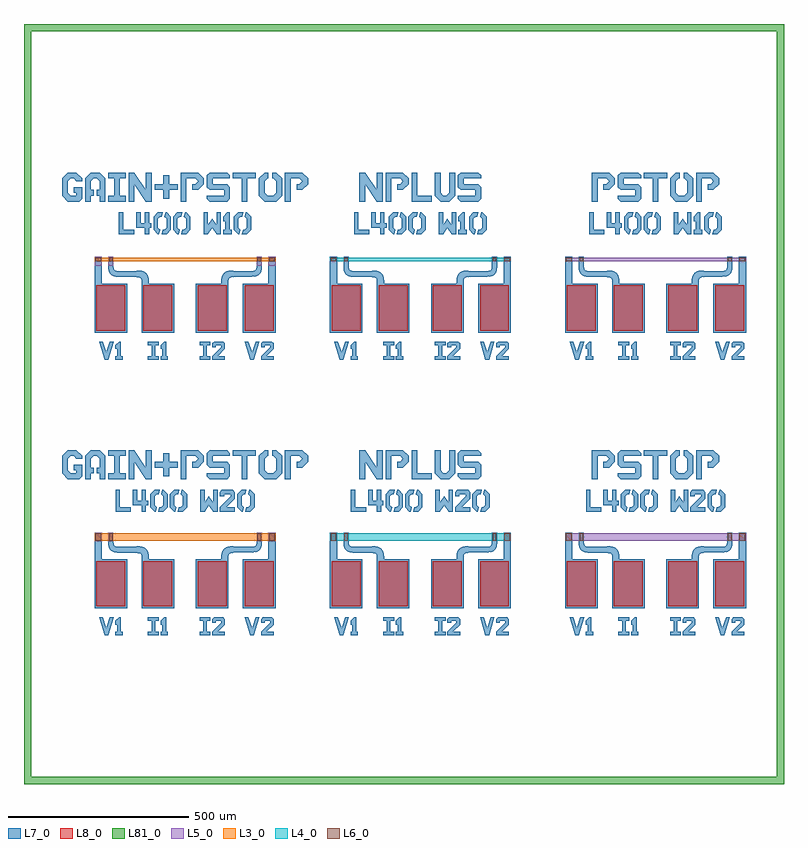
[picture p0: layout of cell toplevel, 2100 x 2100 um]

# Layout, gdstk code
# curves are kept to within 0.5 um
from math import pi, radians
import gdstk
lib = gdstk.Library(unit=1e-6, precision=1e-09)
def R(c, l, rs):  # rectangles x0, y0, x1, y1
    for r in rs: c.add(gdstk.rectangle(r[:2], r[2:], *l))
def P(c, l, *ps):  # polygons
    for p in ps: c.add(gdstk.Polygon(p, *l))
L3_0 = (3, 0)
L4_0 = (4, 0)
L5_0 = (5, 0)
L6_0 = (6, 0)
L7_0 = (7, 0)
L8_0 = (8, 0)
L81_0 = (81, 0)

rectangle008 = lib.new_cell('rectangle008')
R(rectangle008, L5_0, [(-250,-17,-230,7)])

rectangle009 = lib.new_cell('rectangle009')
R(rectangle009, L5_0, [(-212,-17,-198,7)])

offset = lib.new_cell('offset')
R(offset, L8_0, [(5,5,85,130)])

rectangle002 = lib.new_cell('rectangle002')
R(rectangle002, L7_0, [(0,0,90,135)])
rectangle002.add(gdstk.Reference(offset, (0,0)))

rectangle005 = lib.new_cell('rectangle005')
R(rectangle005, L7_0, [(0,0,20,50)])

rectangle003 = lib.new_cell('rectangle003')
R(rectangle003, L7_0, [(0,0,20,24)])

rectangle006 = lib.new_cell('rectangle006')
R(rectangle006, L6_0, [(-248,-5,-232,5)])

pad_v = lib.new_cell('pad_v')
pad_v.add(gdstk.Reference(rectangle002, (-250,-202)))
pad_v.add(gdstk.Reference(rectangle005, (-250,-67)))
pad_v.add(gdstk.Reference(rectangle003, (-250,-17)))
pad_v.add(gdstk.Reference(rectangle006, (0,0)))

rectangle004 = lib.new_cell('rectangle004')
R(rectangle004, L7_0, [(0,0,14,24)])

extrude = lib.new_cell('extrude')
P(extrude, L7_0, [(-212,-17),(-211.614,-27.171),(-209.362,-34.803),(-205.059,-40.896),(-198.656,-45.198),(-193.119,-46.992),(-186.65,-47.829),(-125.381,-49.75),(-122.013,-51.166),(-120.509,-53.698),(-120,-67),(-100,-67),(-100.684,-54.051),(-103.049,-45.646),(-107.874,-38.516),(-114.869,-33.713),(-120.836,-31.808),(-127.788,-31.056),(-190.273,-31.923),(-194.112,-30.578),(-196.306,-28.092),(-197.556,-23.899),(-198,-17)])

rectangle007 = lib.new_cell('rectangle007')
R(rectangle007, L6_0, [(-210,-5,-200,5)])

pad_i = lib.new_cell('pad_i')
pad_i.add(gdstk.Reference(rectangle002, (-120,-202)))
pad_i.add(gdstk.Reference(rectangle004, (-212,-17)))
pad_i.add(gdstk.Reference(extrude, (0,0)))
pad_i.add(gdstk.Reference(rectangle007, (0,0)))

metal_left = lib.new_cell('metal_left')
metal_left.add(gdstk.Reference(rectangle008, (0,0)))
metal_left.add(gdstk.Reference(rectangle009, (0,0)))
metal_left.add(gdstk.Reference(pad_v, (0,0)))
metal_left.add(gdstk.Reference(pad_i, (0,0)))

metal_left010 = lib.new_cell('metal_left010')
metal_left010.add(gdstk.Reference(rectangle008, (0,0), rotation=pi, x_reflection=True))
metal_left010.add(gdstk.Reference(rectangle009, (0,0), rotation=pi, x_reflection=True))
metal_left010.add(gdstk.Reference(pad_v, (0,0), rotation=pi, x_reflection=True))
metal_left010.add(gdstk.Reference(pad_i, (0,0), rotation=pi, x_reflection=True))

rectangle = lib.new_cell('rectangle')
R(rectangle, L3_0, [(-250,-5,250,5)])

text = lib.new_cell('text')
P(text, L7_0, [(-324,160),(-340,176),(-340,224),(-324,240),(-300,240),(-284,224),(-284,216),(-300,216),(-308,224),(-316,224),(-324,216),(-324,184),(-316,176),(-300,176),(-300,184),(-308,184),(-308,200),(-284,200),(-284,168),(-292,160)],
  [(-276,224),(-260,240),(-235.92,240),(-220,224),(-220,160),(-235.92,160),(-235.92,176),(-244,176),(-244,192),(-235.92,192),(-235.92,216),(-244,224),(-252,224),(-260,216),(-260,192),(-252,192),(-252,176),(-260,176),(-260,160),(-276.08,160)],
  [(-212,160),(-212,176),(-196,176),(-196,224),(-212,224),(-212,240),(-164,240),(-164,224),(-180,224),(-180,176),(-164,176),(-164,160),(-212,160)],
  [(-156,240),(-140,240),(-108,192),(-108,240),(-92,240),(-92,160),(-108,160),(-140,208),(-140,160),(-156,160),(-156,240)],
  [(-60,208),(-60,232),(-44,232),(-44,208),(-20,208),(-20,192),(-44,192),(-44,168),(-60,168),(-60,192),(-84,192),(-84,208),(-60,208)],
  [(-12,240),(36,240),(52,224),(52,208),(36,192),(20,192),(20,208),(28,208),(36,216),(28,224),(4,224),(4,160),(-12,160)],
  [(124,224),(76,224),(76,208),(116,208),(124,200),(124,168),(116,160),(68,160),(60,168),(60,176),(108,176),(108,192),(68,192),(60,200),(60,232),(68,240),(116,240),(124,232)],
  [(196,240),(196,224),(172,224),(172,160),(156,160),(156,224),(132,224),(132,240),(196,240)],
  [(204,224),(220,240),(230.4,240),(230.4,224),(228,224),(220,216),(220,184),(228,176),(244,176),(252,184),(252,216),(244,224),(241.6,224),(241.6,240),(252,240),(268,224),(268,176),(252,160),(220,160),(204,176)],
  [(276,240),(324,240),(340,224),(340,208),(324,192),(308,192),(308,208),(316,208),(324,216),(316,224),(292,224),(292,160),(276,160)])

text011 = lib.new_cell('text011')
P(text011, L7_0, [(-183,130),(-171,130),(-171,82),(-141,82),(-141,70),(-183,70),(-183,130)],
  [(-93,100),(-93,88),(-99,88),(-99,70),(-111,70),(-111,88),(-135,88),(-135,130),(-123,130),(-123,100),(-111,100),(-111,130),(-99,130),(-99,100),(-93,100)],
  [(-69,118),(-75,112),(-75,88),(-69,82),(-72,70),(-75,70),(-87,82),(-87,118),(-75,130),(-61.2,130),(-64.2,118),(-69,118)],
  [(-57,82),(-51,88),(-51,112),(-57,118),(-54,130),(-51,130),(-39,118),(-39,82),(-51,70),(-64.8,70),(-61.8,82),(-57,82)],
  [(-15,118),(-21,112),(-21,88),(-15,82),(-18,70),(-21,70),(-33,82),(-33,118),(-21,130),(-7.2,130),(-10.2,118),(-15,118)],
  [(-3,82),(3,88),(3,112),(-3,118),(0,130),(3,130),(15,118),(15,82),(3,70),(-10.8,70),(-7.8,82),(-3,82)],
  [(51,130),(63,130),(63,94),(75,112),(87,94),(87,130),(99,130),(99,70),(87,70),(75,88),(63,70),(51,70)],
  [(111,106),(105,106),(105,118),(117,130),(123,130),(123,82),(129,82),(129,70),(105,70),(105,82),(111,82)],
  [(153,118),(147,112),(147,88),(153,82),(150,70),(147,70),(135,82),(135,118),(147,130),(160.8,130),(157.8,118),(153,118)],
  [(165,82),(171,88),(171,112),(165,118),(168,130),(171,130),(183,118),(183,82),(171,70),(157.2,70),(160.2,82),(165,82)])

text012 = lib.new_cell('text012')
P(text012, L7_0, [(15,50),(25,20),(35,50),(45,50),(30,0),(20,0),(5,50),(15,50)],
  [(55,30),(50,30),(50,40),(60,50),(65,50),(65,10),(70,10),(70,0),(50,0),(50,10),(55,10)])

text013 = lib.new_cell('text013')
P(text013, L7_0, [(15,50),(25,20),(35,50),(45,50),(30,0),(20,0),(5,50),(15,50)],
  [(50,45),(55,50),(80,50),(85,45),(85,30),(65,10),(85,10),(85,0),(50,0),(50,10),(75,35),(75,40),(60,40),(60,35),(50,35)])

text014 = lib.new_cell('text014')
P(text014, L7_0, [(5,0),(5,10),(15,10),(15,40),(5,40),(5,50),(35,50),(35,40),(25,40),(25,10),(35,10),(35,0),(5,0)],
  [(45,30),(40,30),(40,40),(50,50),(55,50),(55,10),(60,10),(60,0),(40,0),(40,10),(45,10)])

text015 = lib.new_cell('text015')
P(text015, L7_0, [(5,0),(5,10),(15,10),(15,40),(5,40),(5,50),(35,50),(35,40),(25,40),(25,10),(35,10),(35,0),(5,0)],
  [(40,45),(45,50),(70,50),(75,45),(75,30),(55,10),(75,10),(75,0),(40,0),(40,10),(65,35),(65,40),(50,40),(50,35),(40,35)])

pad_label = lib.new_cell('pad_label')
pad_label.add(gdstk.Reference(text012, (-242.5,-277)))
pad_label.add(gdstk.Reference(text013, (160,-277)))
pad_label.add(gdstk.Reference(text014, (-107.5,-277)))
pad_label.add(gdstk.Reference(text015, (35,-277)))

i_test = lib.new_cell('I_test')
i_test.add(gdstk.Reference(metal_left, (0,0)))
i_test.add(gdstk.Reference(metal_left010, (0,0)))
i_test.add(gdstk.Reference(rectangle, (0,0)))
i_test.add(gdstk.Reference(text, (0,0)))
i_test.add(gdstk.Reference(text011, (0,0)))
i_test.add(gdstk.Reference(pad_label, (0,0)))

rectangle029 = lib.new_cell('rectangle029')
R(rectangle029, L5_0, [(-250,-12,-230,12)])

rectangle030 = lib.new_cell('rectangle030')
R(rectangle030, L5_0, [(-212,-12,-198,12)])

offset022 = lib.new_cell('offset022')
R(offset022, L8_0, [(5,5,85,130)])

rectangle021 = lib.new_cell('rectangle021')
R(rectangle021, L7_0, [(0,0,90,135)])
rectangle021.add(gdstk.Reference(offset022, (0,0)))

rectangle025 = lib.new_cell('rectangle025')
R(rectangle025, L7_0, [(0,0,20,50)])

rectangle023 = lib.new_cell('rectangle023')
R(rectangle023, L7_0, [(0,0,20,24)])

rectangle027 = lib.new_cell('rectangle027')
R(rectangle027, L6_0, [(-248,-10,-232,10)])

pad_v018 = lib.new_cell('pad_v018')
pad_v018.add(gdstk.Reference(rectangle021, (-250,-197)))
pad_v018.add(gdstk.Reference(rectangle025, (-250,-62)))
pad_v018.add(gdstk.Reference(rectangle023, (-250,-12)))
pad_v018.add(gdstk.Reference(rectangle027, (0,0)))

rectangle024 = lib.new_cell('rectangle024')
R(rectangle024, L7_0, [(0,0,14,24)])

extrude026 = lib.new_cell('extrude026')
P(extrude026, L7_0, [(-212,-12),(-211.614,-22.171),(-209.362,-29.803),(-205.059,-35.896),(-198.656,-40.198),(-193.119,-41.992),(-186.65,-42.829),(-125.381,-44.75),(-122.013,-46.166),(-120.509,-48.698),(-120,-62),(-100,-62),(-100.684,-49.051),(-103.049,-40.646),(-107.874,-33.516),(-114.869,-28.713),(-120.836,-26.808),(-127.788,-26.056),(-190.273,-26.923),(-194.112,-25.578),(-196.306,-23.092),(-197.556,-18.899),(-198,-12)])

rectangle028 = lib.new_cell('rectangle028')
R(rectangle028, L6_0, [(-210,-10,-200,10)])

pad_i019 = lib.new_cell('pad_i019')
pad_i019.add(gdstk.Reference(rectangle021, (-120,-197)))
pad_i019.add(gdstk.Reference(rectangle024, (-212,-12)))
pad_i019.add(gdstk.Reference(extrude026, (0,0)))
pad_i019.add(gdstk.Reference(rectangle028, (0,0)))

metal_left017 = lib.new_cell('metal_left017')
metal_left017.add(gdstk.Reference(rectangle029, (0,0)))
metal_left017.add(gdstk.Reference(rectangle030, (0,0)))
metal_left017.add(gdstk.Reference(pad_v018, (0,0)))
metal_left017.add(gdstk.Reference(pad_i019, (0,0)))

metal_left031 = lib.new_cell('metal_left031')
metal_left031.add(gdstk.Reference(rectangle029, (0,0), rotation=pi, x_reflection=True))
metal_left031.add(gdstk.Reference(rectangle030, (0,0), rotation=pi, x_reflection=True))
metal_left031.add(gdstk.Reference(pad_v018, (0,0), rotation=pi, x_reflection=True))
metal_left031.add(gdstk.Reference(pad_i019, (0,0), rotation=pi, x_reflection=True))

rectangle020 = lib.new_cell('rectangle020')
R(rectangle020, L3_0, [(-250,-10,250,10)])

text032 = lib.new_cell('text032')
P(text032, L7_0, [(-324,160),(-340,176),(-340,224),(-324,240),(-300,240),(-284,224),(-284,216),(-300,216),(-308,224),(-316,224),(-324,216),(-324,184),(-316,176),(-300,176),(-300,184),(-308,184),(-308,200),(-284,200),(-284,168),(-292,160)],
  [(-276,224),(-260,240),(-235.92,240),(-220,224),(-220,160),(-235.92,160),(-235.92,176),(-244,176),(-244,192),(-235.92,192),(-235.92,216),(-244,224),(-252,224),(-260,216),(-260,192),(-252,192),(-252,176),(-260,176),(-260,160),(-276.08,160)],
  [(-212,160),(-212,176),(-196,176),(-196,224),(-212,224),(-212,240),(-164,240),(-164,224),(-180,224),(-180,176),(-164,176),(-164,160),(-212,160)],
  [(-156,240),(-140,240),(-108,192),(-108,240),(-92,240),(-92,160),(-108,160),(-140,208),(-140,160),(-156,160),(-156,240)],
  [(-60,208),(-60,232),(-44,232),(-44,208),(-20,208),(-20,192),(-44,192),(-44,168),(-60,168),(-60,192),(-84,192),(-84,208),(-60,208)],
  [(-12,240),(36,240),(52,224),(52,208),(36,192),(20,192),(20,208),(28,208),(36,216),(28,224),(4,224),(4,160),(-12,160)],
  [(124,224),(76,224),(76,208),(116,208),(124,200),(124,168),(116,160),(68,160),(60,168),(60,176),(108,176),(108,192),(68,192),(60,200),(60,232),(68,240),(116,240),(124,232)],
  [(196,240),(196,224),(172,224),(172,160),(156,160),(156,224),(132,224),(132,240),(196,240)],
  [(204,224),(220,240),(230.4,240),(230.4,224),(228,224),(220,216),(220,184),(228,176),(244,176),(252,184),(252,216),(244,224),(241.6,224),(241.6,240),(252,240),(268,224),(268,176),(252,160),(220,160),(204,176)],
  [(276,240),(324,240),(340,224),(340,208),(324,192),(308,192),(308,208),(316,208),(324,216),(316,224),(292,224),(292,160),(276,160)])

text033 = lib.new_cell('text033')
P(text033, L7_0, [(-192,130),(-180,130),(-180,82),(-150,82),(-150,70),(-192,70),(-192,130)],
  [(-102,100),(-102,88),(-108,88),(-108,70),(-120,70),(-120,88),(-144,88),(-144,130),(-132,130),(-132,100),(-120,100),(-120,130),(-108,130),(-108,100),(-102,100)],
  [(-78,118),(-84,112),(-84,88),(-78,82),(-81,70),(-84,70),(-96,82),(-96,118),(-84,130),(-70.2,130),(-73.2,118),(-78,118)],
  [(-66,82),(-60,88),(-60,112),(-66,118),(-63,130),(-60,130),(-48,118),(-48,82),(-60,70),(-73.8,70),(-70.8,82),(-66,82)],
  [(-24,118),(-30,112),(-30,88),(-24,82),(-27,70),(-30,70),(-42,82),(-42,118),(-30,130),(-16.2,130),(-19.2,118),(-24,118)],
  [(-12,82),(-6,88),(-6,112),(-12,118),(-9,130),(-6,130),(6,118),(6,82),(-6,70),(-19.8,70),(-16.8,82),(-12,82)],
  [(42,130),(54,130),(54,94),(66,112),(78,94),(78,130),(90,130),(90,70),(78,70),(66,88),(54,70),(42,70)],
  [(96,124),(102,130),(132,130),(138,124),(138,106),(114,82),(138,82),(138,70),(96,70),(96,82),(126,112),(126,118),(108,118),(108,112),(96,112)],
  [(162,118),(156,112),(156,88),(162,82),(159,70),(156,70),(144,82),(144,118),(156,130),(169.8,130),(166.8,118),(162,118)],
  [(174,82),(180,88),(180,112),(174,118),(177,130),(180,130),(192,118),(192,82),(180,70),(166.2,70),(169.2,82),(174,82)])

text035 = lib.new_cell('text035')
P(text035, L7_0, [(15,50),(25,20),(35,50),(45,50),(30,0),(20,0),(5,50),(15,50)],
  [(55,30),(50,30),(50,40),(60,50),(65,50),(65,10),(70,10),(70,0),(50,0),(50,10),(55,10)])

text036 = lib.new_cell('text036')
P(text036, L7_0, [(15,50),(25,20),(35,50),(45,50),(30,0),(20,0),(5,50),(15,50)],
  [(50,45),(55,50),(80,50),(85,45),(85,30),(65,10),(85,10),(85,0),(50,0),(50,10),(75,35),(75,40),(60,40),(60,35),(50,35)])

text037 = lib.new_cell('text037')
P(text037, L7_0, [(5,0),(5,10),(15,10),(15,40),(5,40),(5,50),(35,50),(35,40),(25,40),(25,10),(35,10),(35,0),(5,0)],
  [(45,30),(40,30),(40,40),(50,50),(55,50),(55,10),(60,10),(60,0),(40,0),(40,10),(45,10)])

text038 = lib.new_cell('text038')
P(text038, L7_0, [(5,0),(5,10),(15,10),(15,40),(5,40),(5,50),(35,50),(35,40),(25,40),(25,10),(35,10),(35,0),(5,0)],
  [(40,45),(45,50),(70,50),(75,45),(75,30),(55,10),(75,10),(75,0),(40,0),(40,10),(65,35),(65,40),(50,40),(50,35),(40,35)])

pad_label034 = lib.new_cell('pad_label034')
pad_label034.add(gdstk.Reference(text035, (-242.5,-272)))
pad_label034.add(gdstk.Reference(text036, (160,-272)))
pad_label034.add(gdstk.Reference(text037, (-107.5,-272)))
pad_label034.add(gdstk.Reference(text038, (35,-272)))

i_test016 = lib.new_cell('I_test016')
i_test016.add(gdstk.Reference(metal_left017, (0,0)))
i_test016.add(gdstk.Reference(metal_left031, (0,0)))
i_test016.add(gdstk.Reference(rectangle020, (0,0)))
i_test016.add(gdstk.Reference(text032, (0,0)))
i_test016.add(gdstk.Reference(text033, (0,0)))
i_test016.add(gdstk.Reference(pad_label034, (0,0)))

offset045 = lib.new_cell('offset045')
R(offset045, L8_0, [(5,5,85,130)])

rectangle044 = lib.new_cell('rectangle044')
R(rectangle044, L7_0, [(0,0,90,135)])
rectangle044.add(gdstk.Reference(offset045, (0,0)))

rectangle048 = lib.new_cell('rectangle048')
R(rectangle048, L7_0, [(0,0,20,50)])

rectangle046 = lib.new_cell('rectangle046')
R(rectangle046, L7_0, [(0,0,20,24)])

rectangle050 = lib.new_cell('rectangle050')
R(rectangle050, L6_0, [(-248,-5,-232,5)])

pad_v041 = lib.new_cell('pad_v041')
pad_v041.add(gdstk.Reference(rectangle044, (-250,-202)))
pad_v041.add(gdstk.Reference(rectangle048, (-250,-67)))
pad_v041.add(gdstk.Reference(rectangle046, (-250,-17)))
pad_v041.add(gdstk.Reference(rectangle050, (0,0)))

rectangle047 = lib.new_cell('rectangle047')
R(rectangle047, L7_0, [(0,0,14,24)])

extrude049 = lib.new_cell('extrude049')
P(extrude049, L7_0, [(-212,-17),(-211.614,-27.171),(-209.362,-34.803),(-205.059,-40.896),(-198.656,-45.198),(-193.119,-46.992),(-186.65,-47.829),(-125.381,-49.75),(-122.013,-51.166),(-120.509,-53.698),(-120,-67),(-100,-67),(-100.684,-54.051),(-103.049,-45.646),(-107.874,-38.516),(-114.869,-33.713),(-120.836,-31.808),(-127.788,-31.056),(-190.273,-31.923),(-194.112,-30.578),(-196.306,-28.092),(-197.556,-23.899),(-198,-17)])

rectangle051 = lib.new_cell('rectangle051')
R(rectangle051, L6_0, [(-210,-5,-200,5)])

pad_i042 = lib.new_cell('pad_i042')
pad_i042.add(gdstk.Reference(rectangle044, (-120,-202)))
pad_i042.add(gdstk.Reference(rectangle047, (-212,-17)))
pad_i042.add(gdstk.Reference(extrude049, (0,0)))
pad_i042.add(gdstk.Reference(rectangle051, (0,0)))

metal_left040 = lib.new_cell('metal_left040')
metal_left040.add(gdstk.Reference(pad_v041, (0,0)))
metal_left040.add(gdstk.Reference(pad_i042, (0,0)))

metal_left052 = lib.new_cell('metal_left052')
metal_left052.add(gdstk.Reference(pad_v041, (0,0), rotation=pi, x_reflection=True))
metal_left052.add(gdstk.Reference(pad_i042, (0,0), rotation=pi, x_reflection=True))

rectangle043 = lib.new_cell('rectangle043')
R(rectangle043, L4_0, [(-250,-5,250,5)])

text053 = lib.new_cell('text053')
P(text053, L7_0, [(-168,240),(-152,240),(-120,192),(-120,240),(-104,240),(-104,160),(-120,160),(-152,208),(-152,160),(-168,160),(-168,240)],
  [(-96,240),(-48,240),(-32,224),(-32,208),(-48,192),(-64,192),(-64,208),(-56,208),(-48,216),(-56,224),(-80,224),(-80,160),(-96,160)],
  [(-24,240),(-8,240),(-8,176),(32,176),(32,160),(-24,160),(-24,240)],
  [(56,240),(56,184),(64,176),(72,176),(80,184),(80,240),(96,240),(96,176),(80,160),(56,160),(40,176),(40,240)],
  [(168,224),(120,224),(120,208),(160,208),(168,200),(168,168),(160,160),(112,160),(104,168),(104,176),(152,176),(152,192),(112,192),(104,200),(104,232),(112,240),(160,240),(168,232)])

text054 = lib.new_cell('text054')
P(text054, L7_0, [(-183,130),(-171,130),(-171,82),(-141,82),(-141,70),(-183,70),(-183,130)],
  [(-93,100),(-93,88),(-99,88),(-99,70),(-111,70),(-111,88),(-135,88),(-135,130),(-123,130),(-123,100),(-111,100),(-111,130),(-99,130),(-99,100),(-93,100)],
  [(-69,118),(-75,112),(-75,88),(-69,82),(-72,70),(-75,70),(-87,82),(-87,118),(-75,130),(-61.2,130),(-64.2,118),(-69,118)],
  [(-57,82),(-51,88),(-51,112),(-57,118),(-54,130),(-51,130),(-39,118),(-39,82),(-51,70),(-64.8,70),(-61.8,82),(-57,82)],
  [(-15,118),(-21,112),(-21,88),(-15,82),(-18,70),(-21,70),(-33,82),(-33,118),(-21,130),(-7.2,130),(-10.2,118),(-15,118)],
  [(-3,82),(3,88),(3,112),(-3,118),(0,130),(3,130),(15,118),(15,82),(3,70),(-10.8,70),(-7.8,82),(-3,82)],
  [(51,130),(63,130),(63,94),(75,112),(87,94),(87,130),(99,130),(99,70),(87,70),(75,88),(63,70),(51,70)],
  [(111,106),(105,106),(105,118),(117,130),(123,130),(123,82),(129,82),(129,70),(105,70),(105,82),(111,82)],
  [(153,118),(147,112),(147,88),(153,82),(150,70),(147,70),(135,82),(135,118),(147,130),(160.8,130),(157.8,118),(153,118)],
  [(165,82),(171,88),(171,112),(165,118),(168,130),(171,130),(183,118),(183,82),(171,70),(157.2,70),(160.2,82),(165,82)])

text056 = lib.new_cell('text056')
P(text056, L7_0, [(15,50),(25,20),(35,50),(45,50),(30,0),(20,0),(5,50),(15,50)],
  [(55,30),(50,30),(50,40),(60,50),(65,50),(65,10),(70,10),(70,0),(50,0),(50,10),(55,10)])

text057 = lib.new_cell('text057')
P(text057, L7_0, [(15,50),(25,20),(35,50),(45,50),(30,0),(20,0),(5,50),(15,50)],
  [(50,45),(55,50),(80,50),(85,45),(85,30),(65,10),(85,10),(85,0),(50,0),(50,10),(75,35),(75,40),(60,40),(60,35),(50,35)])

text058 = lib.new_cell('text058')
P(text058, L7_0, [(5,0),(5,10),(15,10),(15,40),(5,40),(5,50),(35,50),(35,40),(25,40),(25,10),(35,10),(35,0),(5,0)],
  [(45,30),(40,30),(40,40),(50,50),(55,50),(55,10),(60,10),(60,0),(40,0),(40,10),(45,10)])

text059 = lib.new_cell('text059')
P(text059, L7_0, [(5,0),(5,10),(15,10),(15,40),(5,40),(5,50),(35,50),(35,40),(25,40),(25,10),(35,10),(35,0),(5,0)],
  [(40,45),(45,50),(70,50),(75,45),(75,30),(55,10),(75,10),(75,0),(40,0),(40,10),(65,35),(65,40),(50,40),(50,35),(40,35)])

pad_label055 = lib.new_cell('pad_label055')
pad_label055.add(gdstk.Reference(text056, (-242.5,-277)))
pad_label055.add(gdstk.Reference(text057, (160,-277)))
pad_label055.add(gdstk.Reference(text058, (-107.5,-277)))
pad_label055.add(gdstk.Reference(text059, (35,-277)))

i_test039 = lib.new_cell('I_test039')
i_test039.add(gdstk.Reference(metal_left040, (0,0)))
i_test039.add(gdstk.Reference(metal_left052, (0,0)))
i_test039.add(gdstk.Reference(rectangle043, (0,0)))
i_test039.add(gdstk.Reference(text053, (0,0)))
i_test039.add(gdstk.Reference(text054, (0,0)))
i_test039.add(gdstk.Reference(pad_label055, (0,0)))

offset066 = lib.new_cell('offset066')
R(offset066, L8_0, [(5,5,85,130)])

rectangle065 = lib.new_cell('rectangle065')
R(rectangle065, L7_0, [(0,0,90,135)])
rectangle065.add(gdstk.Reference(offset066, (0,0)))

rectangle069 = lib.new_cell('rectangle069')
R(rectangle069, L7_0, [(0,0,20,50)])

rectangle067 = lib.new_cell('rectangle067')
R(rectangle067, L7_0, [(0,0,20,24)])

rectangle071 = lib.new_cell('rectangle071')
R(rectangle071, L6_0, [(-248,-10,-232,10)])

pad_v062 = lib.new_cell('pad_v062')
pad_v062.add(gdstk.Reference(rectangle065, (-250,-197)))
pad_v062.add(gdstk.Reference(rectangle069, (-250,-62)))
pad_v062.add(gdstk.Reference(rectangle067, (-250,-12)))
pad_v062.add(gdstk.Reference(rectangle071, (0,0)))

rectangle068 = lib.new_cell('rectangle068')
R(rectangle068, L7_0, [(0,0,14,24)])

extrude070 = lib.new_cell('extrude070')
P(extrude070, L7_0, [(-212,-12),(-211.614,-22.171),(-209.362,-29.803),(-205.059,-35.896),(-198.656,-40.198),(-193.119,-41.992),(-186.65,-42.829),(-125.381,-44.75),(-122.013,-46.166),(-120.509,-48.698),(-120,-62),(-100,-62),(-100.684,-49.051),(-103.049,-40.646),(-107.874,-33.516),(-114.869,-28.713),(-120.836,-26.808),(-127.788,-26.056),(-190.273,-26.923),(-194.112,-25.578),(-196.306,-23.092),(-197.556,-18.899),(-198,-12)])

rectangle072 = lib.new_cell('rectangle072')
R(rectangle072, L6_0, [(-210,-10,-200,10)])

pad_i063 = lib.new_cell('pad_i063')
pad_i063.add(gdstk.Reference(rectangle065, (-120,-197)))
pad_i063.add(gdstk.Reference(rectangle068, (-212,-12)))
pad_i063.add(gdstk.Reference(extrude070, (0,0)))
pad_i063.add(gdstk.Reference(rectangle072, (0,0)))

metal_left061 = lib.new_cell('metal_left061')
metal_left061.add(gdstk.Reference(pad_v062, (0,0)))
metal_left061.add(gdstk.Reference(pad_i063, (0,0)))

metal_left073 = lib.new_cell('metal_left073')
metal_left073.add(gdstk.Reference(pad_v062, (0,0), rotation=pi, x_reflection=True))
metal_left073.add(gdstk.Reference(pad_i063, (0,0), rotation=pi, x_reflection=True))

rectangle064 = lib.new_cell('rectangle064')
R(rectangle064, L4_0, [(-250,-10,250,10)])

text074 = lib.new_cell('text074')
P(text074, L7_0, [(-168,240),(-152,240),(-120,192),(-120,240),(-104,240),(-104,160),(-120,160),(-152,208),(-152,160),(-168,160),(-168,240)],
  [(-96,240),(-48,240),(-32,224),(-32,208),(-48,192),(-64,192),(-64,208),(-56,208),(-48,216),(-56,224),(-80,224),(-80,160),(-96,160)],
  [(-24,240),(-8,240),(-8,176),(32,176),(32,160),(-24,160),(-24,240)],
  [(56,240),(56,184),(64,176),(72,176),(80,184),(80,240),(96,240),(96,176),(80,160),(56,160),(40,176),(40,240)],
  [(168,224),(120,224),(120,208),(160,208),(168,200),(168,168),(160,160),(112,160),(104,168),(104,176),(152,176),(152,192),(112,192),(104,200),(104,232),(112,240),(160,240),(168,232)])

text075 = lib.new_cell('text075')
P(text075, L7_0, [(-192,130),(-180,130),(-180,82),(-150,82),(-150,70),(-192,70),(-192,130)],
  [(-102,100),(-102,88),(-108,88),(-108,70),(-120,70),(-120,88),(-144,88),(-144,130),(-132,130),(-132,100),(-120,100),(-120,130),(-108,130),(-108,100),(-102,100)],
  [(-78,118),(-84,112),(-84,88),(-78,82),(-81,70),(-84,70),(-96,82),(-96,118),(-84,130),(-70.2,130),(-73.2,118),(-78,118)],
  [(-66,82),(-60,88),(-60,112),(-66,118),(-63,130),(-60,130),(-48,118),(-48,82),(-60,70),(-73.8,70),(-70.8,82),(-66,82)],
  [(-24,118),(-30,112),(-30,88),(-24,82),(-27,70),(-30,70),(-42,82),(-42,118),(-30,130),(-16.2,130),(-19.2,118),(-24,118)],
  [(-12,82),(-6,88),(-6,112),(-12,118),(-9,130),(-6,130),(6,118),(6,82),(-6,70),(-19.8,70),(-16.8,82),(-12,82)],
  [(42,130),(54,130),(54,94),(66,112),(78,94),(78,130),(90,130),(90,70),(78,70),(66,88),(54,70),(42,70)],
  [(96,124),(102,130),(132,130),(138,124),(138,106),(114,82),(138,82),(138,70),(96,70),(96,82),(126,112),(126,118),(108,118),(108,112),(96,112)],
  [(162,118),(156,112),(156,88),(162,82),(159,70),(156,70),(144,82),(144,118),(156,130),(169.8,130),(166.8,118),(162,118)],
  [(174,82),(180,88),(180,112),(174,118),(177,130),(180,130),(192,118),(192,82),(180,70),(166.2,70),(169.2,82),(174,82)])

text077 = lib.new_cell('text077')
P(text077, L7_0, [(15,50),(25,20),(35,50),(45,50),(30,0),(20,0),(5,50),(15,50)],
  [(55,30),(50,30),(50,40),(60,50),(65,50),(65,10),(70,10),(70,0),(50,0),(50,10),(55,10)])

text078 = lib.new_cell('text078')
P(text078, L7_0, [(15,50),(25,20),(35,50),(45,50),(30,0),(20,0),(5,50),(15,50)],
  [(50,45),(55,50),(80,50),(85,45),(85,30),(65,10),(85,10),(85,0),(50,0),(50,10),(75,35),(75,40),(60,40),(60,35),(50,35)])

text079 = lib.new_cell('text079')
P(text079, L7_0, [(5,0),(5,10),(15,10),(15,40),(5,40),(5,50),(35,50),(35,40),(25,40),(25,10),(35,10),(35,0),(5,0)],
  [(45,30),(40,30),(40,40),(50,50),(55,50),(55,10),(60,10),(60,0),(40,0),(40,10),(45,10)])

text080 = lib.new_cell('text080')
P(text080, L7_0, [(5,0),(5,10),(15,10),(15,40),(5,40),(5,50),(35,50),(35,40),(25,40),(25,10),(35,10),(35,0),(5,0)],
  [(40,45),(45,50),(70,50),(75,45),(75,30),(55,10),(75,10),(75,0),(40,0),(40,10),(65,35),(65,40),(50,40),(50,35),(40,35)])

pad_label076 = lib.new_cell('pad_label076')
pad_label076.add(gdstk.Reference(text077, (-242.5,-272)))
pad_label076.add(gdstk.Reference(text078, (160,-272)))
pad_label076.add(gdstk.Reference(text079, (-107.5,-272)))
pad_label076.add(gdstk.Reference(text080, (35,-272)))

i_test060 = lib.new_cell('I_test060')
i_test060.add(gdstk.Reference(metal_left061, (0,0)))
i_test060.add(gdstk.Reference(metal_left073, (0,0)))
i_test060.add(gdstk.Reference(rectangle064, (0,0)))
i_test060.add(gdstk.Reference(text074, (0,0)))
i_test060.add(gdstk.Reference(text075, (0,0)))
i_test060.add(gdstk.Reference(pad_label076, (0,0)))

offset087 = lib.new_cell('offset087')
R(offset087, L8_0, [(5,5,85,130)])

rectangle086 = lib.new_cell('rectangle086')
R(rectangle086, L7_0, [(0,0,90,135)])
rectangle086.add(gdstk.Reference(offset087, (0,0)))

rectangle090 = lib.new_cell('rectangle090')
R(rectangle090, L7_0, [(0,0,20,50)])

rectangle088 = lib.new_cell('rectangle088')
R(rectangle088, L7_0, [(0,0,20,24)])

rectangle092 = lib.new_cell('rectangle092')
R(rectangle092, L6_0, [(-248,-5,-232,5)])

pad_v083 = lib.new_cell('pad_v083')
pad_v083.add(gdstk.Reference(rectangle086, (-250,-202)))
pad_v083.add(gdstk.Reference(rectangle090, (-250,-67)))
pad_v083.add(gdstk.Reference(rectangle088, (-250,-17)))
pad_v083.add(gdstk.Reference(rectangle092, (0,0)))

rectangle089 = lib.new_cell('rectangle089')
R(rectangle089, L7_0, [(0,0,14,24)])

extrude091 = lib.new_cell('extrude091')
P(extrude091, L7_0, [(-212,-17),(-211.614,-27.171),(-209.362,-34.803),(-205.059,-40.896),(-198.656,-45.198),(-193.119,-46.992),(-186.65,-47.829),(-125.381,-49.75),(-122.013,-51.166),(-120.509,-53.698),(-120,-67),(-100,-67),(-100.684,-54.051),(-103.049,-45.646),(-107.874,-38.516),(-114.869,-33.713),(-120.836,-31.808),(-127.788,-31.056),(-190.273,-31.923),(-194.112,-30.578),(-196.306,-28.092),(-197.556,-23.899),(-198,-17)])

rectangle093 = lib.new_cell('rectangle093')
R(rectangle093, L6_0, [(-210,-5,-200,5)])

pad_i084 = lib.new_cell('pad_i084')
pad_i084.add(gdstk.Reference(rectangle086, (-120,-202)))
pad_i084.add(gdstk.Reference(rectangle089, (-212,-17)))
pad_i084.add(gdstk.Reference(extrude091, (0,0)))
pad_i084.add(gdstk.Reference(rectangle093, (0,0)))

metal_left082 = lib.new_cell('metal_left082')
metal_left082.add(gdstk.Reference(pad_v083, (0,0)))
metal_left082.add(gdstk.Reference(pad_i084, (0,0)))

metal_left094 = lib.new_cell('metal_left094')
metal_left094.add(gdstk.Reference(pad_v083, (0,0), rotation=pi, x_reflection=True))
metal_left094.add(gdstk.Reference(pad_i084, (0,0), rotation=pi, x_reflection=True))

rectangle085 = lib.new_cell('rectangle085')
R(rectangle085, L5_0, [(-250,-5,250,5)])

text095 = lib.new_cell('text095')
P(text095, L7_0, [(-176,240),(-128,240),(-112,224),(-112,208),(-128,192),(-144,192),(-144,208),(-136,208),(-128,216),(-136,224),(-160,224),(-160,160),(-176,160)],
  [(-40,224),(-88,224),(-88,208),(-48,208),(-40,200),(-40,168),(-48,160),(-96,160),(-104,168),(-104,176),(-56,176),(-56,192),(-96,192),(-104,200),(-104,232),(-96,240),(-48,240),(-40,232)],
  [(32,240),(32,224),(8,224),(8,160),(-8,160),(-8,224),(-32,224),(-32,240),(32,240)],
  [(40,224),(56,240),(66.4,240),(66.4,224),(64,224),(56,216),(56,184),(64,176),(80,176),(88,184),(88,216),(80,224),(77.6,224),(77.6,240),(88,240),(104,224),(104,176),(88,160),(56,160),(40,176)],
  [(112,240),(160,240),(176,224),(176,208),(160,192),(144,192),(144,208),(152,208),(160,216),(152,224),(128,224),(128,160),(112,160)])

text096 = lib.new_cell('text096')
P(text096, L7_0, [(-183,130),(-171,130),(-171,82),(-141,82),(-141,70),(-183,70),(-183,130)],
  [(-93,100),(-93,88),(-99,88),(-99,70),(-111,70),(-111,88),(-135,88),(-135,130),(-123,130),(-123,100),(-111,100),(-111,130),(-99,130),(-99,100),(-93,100)],
  [(-69,118),(-75,112),(-75,88),(-69,82),(-72,70),(-75,70),(-87,82),(-87,118),(-75,130),(-61.2,130),(-64.2,118),(-69,118)],
  [(-57,82),(-51,88),(-51,112),(-57,118),(-54,130),(-51,130),(-39,118),(-39,82),(-51,70),(-64.8,70),(-61.8,82),(-57,82)],
  [(-15,118),(-21,112),(-21,88),(-15,82),(-18,70),(-21,70),(-33,82),(-33,118),(-21,130),(-7.2,130),(-10.2,118),(-15,118)],
  [(-3,82),(3,88),(3,112),(-3,118),(0,130),(3,130),(15,118),(15,82),(3,70),(-10.8,70),(-7.8,82),(-3,82)],
  [(51,130),(63,130),(63,94),(75,112),(87,94),(87,130),(99,130),(99,70),(87,70),(75,88),(63,70),(51,70)],
  [(111,106),(105,106),(105,118),(117,130),(123,130),(123,82),(129,82),(129,70),(105,70),(105,82),(111,82)],
  [(153,118),(147,112),(147,88),(153,82),(150,70),(147,70),(135,82),(135,118),(147,130),(160.8,130),(157.8,118),(153,118)],
  [(165,82),(171,88),(171,112),(165,118),(168,130),(171,130),(183,118),(183,82),(171,70),(157.2,70),(160.2,82),(165,82)])

text098 = lib.new_cell('text098')
P(text098, L7_0, [(15,50),(25,20),(35,50),(45,50),(30,0),(20,0),(5,50),(15,50)],
  [(55,30),(50,30),(50,40),(60,50),(65,50),(65,10),(70,10),(70,0),(50,0),(50,10),(55,10)])

text099 = lib.new_cell('text099')
P(text099, L7_0, [(15,50),(25,20),(35,50),(45,50),(30,0),(20,0),(5,50),(15,50)],
  [(50,45),(55,50),(80,50),(85,45),(85,30),(65,10),(85,10),(85,0),(50,0),(50,10),(75,35),(75,40),(60,40),(60,35),(50,35)])

text100 = lib.new_cell('text100')
P(text100, L7_0, [(5,0),(5,10),(15,10),(15,40),(5,40),(5,50),(35,50),(35,40),(25,40),(25,10),(35,10),(35,0),(5,0)],
  [(45,30),(40,30),(40,40),(50,50),(55,50),(55,10),(60,10),(60,0),(40,0),(40,10),(45,10)])

text101 = lib.new_cell('text101')
P(text101, L7_0, [(5,0),(5,10),(15,10),(15,40),(5,40),(5,50),(35,50),(35,40),(25,40),(25,10),(35,10),(35,0),(5,0)],
  [(40,45),(45,50),(70,50),(75,45),(75,30),(55,10),(75,10),(75,0),(40,0),(40,10),(65,35),(65,40),(50,40),(50,35),(40,35)])

pad_label097 = lib.new_cell('pad_label097')
pad_label097.add(gdstk.Reference(text098, (-242.5,-277)))
pad_label097.add(gdstk.Reference(text099, (160,-277)))
pad_label097.add(gdstk.Reference(text100, (-107.5,-277)))
pad_label097.add(gdstk.Reference(text101, (35,-277)))

i_test081 = lib.new_cell('I_test081')
i_test081.add(gdstk.Reference(metal_left082, (0,0)))
i_test081.add(gdstk.Reference(metal_left094, (0,0)))
i_test081.add(gdstk.Reference(rectangle085, (0,0)))
i_test081.add(gdstk.Reference(text095, (0,0)))
i_test081.add(gdstk.Reference(text096, (0,0)))
i_test081.add(gdstk.Reference(pad_label097, (0,0)))

offset108 = lib.new_cell('offset108')
R(offset108, L8_0, [(5,5,85,130)])

rectangle107 = lib.new_cell('rectangle107')
R(rectangle107, L7_0, [(0,0,90,135)])
rectangle107.add(gdstk.Reference(offset108, (0,0)))

rectangle111 = lib.new_cell('rectangle111')
R(rectangle111, L7_0, [(0,0,20,50)])

rectangle109 = lib.new_cell('rectangle109')
R(rectangle109, L7_0, [(0,0,20,24)])

rectangle113 = lib.new_cell('rectangle113')
R(rectangle113, L6_0, [(-248,-10,-232,10)])

pad_v104 = lib.new_cell('pad_v104')
pad_v104.add(gdstk.Reference(rectangle107, (-250,-197)))
pad_v104.add(gdstk.Reference(rectangle111, (-250,-62)))
pad_v104.add(gdstk.Reference(rectangle109, (-250,-12)))
pad_v104.add(gdstk.Reference(rectangle113, (0,0)))

rectangle110 = lib.new_cell('rectangle110')
R(rectangle110, L7_0, [(0,0,14,24)])

extrude112 = lib.new_cell('extrude112')
P(extrude112, L7_0, [(-212,-12),(-211.614,-22.171),(-209.362,-29.803),(-205.059,-35.896),(-198.656,-40.198),(-193.119,-41.992),(-186.65,-42.829),(-125.381,-44.75),(-122.013,-46.166),(-120.509,-48.698),(-120,-62),(-100,-62),(-100.684,-49.051),(-103.049,-40.646),(-107.874,-33.516),(-114.869,-28.713),(-120.836,-26.808),(-127.788,-26.056),(-190.273,-26.923),(-194.112,-25.578),(-196.306,-23.092),(-197.556,-18.899),(-198,-12)])

rectangle114 = lib.new_cell('rectangle114')
R(rectangle114, L6_0, [(-210,-10,-200,10)])

pad_i105 = lib.new_cell('pad_i105')
pad_i105.add(gdstk.Reference(rectangle107, (-120,-197)))
pad_i105.add(gdstk.Reference(rectangle110, (-212,-12)))
pad_i105.add(gdstk.Reference(extrude112, (0,0)))
pad_i105.add(gdstk.Reference(rectangle114, (0,0)))

metal_left103 = lib.new_cell('metal_left103')
metal_left103.add(gdstk.Reference(pad_v104, (0,0)))
metal_left103.add(gdstk.Reference(pad_i105, (0,0)))

metal_left115 = lib.new_cell('metal_left115')
metal_left115.add(gdstk.Reference(pad_v104, (0,0), rotation=pi, x_reflection=True))
metal_left115.add(gdstk.Reference(pad_i105, (0,0), rotation=pi, x_reflection=True))

rectangle106 = lib.new_cell('rectangle106')
R(rectangle106, L5_0, [(-250,-10,250,10)])

text116 = lib.new_cell('text116')
P(text116, L7_0, [(-176,240),(-128,240),(-112,224),(-112,208),(-128,192),(-144,192),(-144,208),(-136,208),(-128,216),(-136,224),(-160,224),(-160,160),(-176,160)],
  [(-40,224),(-88,224),(-88,208),(-48,208),(-40,200),(-40,168),(-48,160),(-96,160),(-104,168),(-104,176),(-56,176),(-56,192),(-96,192),(-104,200),(-104,232),(-96,240),(-48,240),(-40,232)],
  [(32,240),(32,224),(8,224),(8,160),(-8,160),(-8,224),(-32,224),(-32,240),(32,240)],
  [(40,224),(56,240),(66.4,240),(66.4,224),(64,224),(56,216),(56,184),(64,176),(80,176),(88,184),(88,216),(80,224),(77.6,224),(77.6,240),(88,240),(104,224),(104,176),(88,160),(56,160),(40,176)],
  [(112,240),(160,240),(176,224),(176,208),(160,192),(144,192),(144,208),(152,208),(160,216),(152,224),(128,224),(128,160),(112,160)])

text117 = lib.new_cell('text117')
P(text117, L7_0, [(-192,130),(-180,130),(-180,82),(-150,82),(-150,70),(-192,70),(-192,130)],
  [(-102,100),(-102,88),(-108,88),(-108,70),(-120,70),(-120,88),(-144,88),(-144,130),(-132,130),(-132,100),(-120,100),(-120,130),(-108,130),(-108,100),(-102,100)],
  [(-78,118),(-84,112),(-84,88),(-78,82),(-81,70),(-84,70),(-96,82),(-96,118),(-84,130),(-70.2,130),(-73.2,118),(-78,118)],
  [(-66,82),(-60,88),(-60,112),(-66,118),(-63,130),(-60,130),(-48,118),(-48,82),(-60,70),(-73.8,70),(-70.8,82),(-66,82)],
  [(-24,118),(-30,112),(-30,88),(-24,82),(-27,70),(-30,70),(-42,82),(-42,118),(-30,130),(-16.2,130),(-19.2,118),(-24,118)],
  [(-12,82),(-6,88),(-6,112),(-12,118),(-9,130),(-6,130),(6,118),(6,82),(-6,70),(-19.8,70),(-16.8,82),(-12,82)],
  [(42,130),(54,130),(54,94),(66,112),(78,94),(78,130),(90,130),(90,70),(78,70),(66,88),(54,70),(42,70)],
  [(96,124),(102,130),(132,130),(138,124),(138,106),(114,82),(138,82),(138,70),(96,70),(96,82),(126,112),(126,118),(108,118),(108,112),(96,112)],
  [(162,118),(156,112),(156,88),(162,82),(159,70),(156,70),(144,82),(144,118),(156,130),(169.8,130),(166.8,118),(162,118)],
  [(174,82),(180,88),(180,112),(174,118),(177,130),(180,130),(192,118),(192,82),(180,70),(166.2,70),(169.2,82),(174,82)])

text119 = lib.new_cell('text119')
P(text119, L7_0, [(15,50),(25,20),(35,50),(45,50),(30,0),(20,0),(5,50),(15,50)],
  [(55,30),(50,30),(50,40),(60,50),(65,50),(65,10),(70,10),(70,0),(50,0),(50,10),(55,10)])

text120 = lib.new_cell('text120')
P(text120, L7_0, [(15,50),(25,20),(35,50),(45,50),(30,0),(20,0),(5,50),(15,50)],
  [(50,45),(55,50),(80,50),(85,45),(85,30),(65,10),(85,10),(85,0),(50,0),(50,10),(75,35),(75,40),(60,40),(60,35),(50,35)])

text121 = lib.new_cell('text121')
P(text121, L7_0, [(5,0),(5,10),(15,10),(15,40),(5,40),(5,50),(35,50),(35,40),(25,40),(25,10),(35,10),(35,0),(5,0)],
  [(45,30),(40,30),(40,40),(50,50),(55,50),(55,10),(60,10),(60,0),(40,0),(40,10),(45,10)])

text122 = lib.new_cell('text122')
P(text122, L7_0, [(5,0),(5,10),(15,10),(15,40),(5,40),(5,50),(35,50),(35,40),(25,40),(25,10),(35,10),(35,0),(5,0)],
  [(40,45),(45,50),(70,50),(75,45),(75,30),(55,10),(75,10),(75,0),(40,0),(40,10),(65,35),(65,40),(50,40),(50,35),(40,35)])

pad_label118 = lib.new_cell('pad_label118')
pad_label118.add(gdstk.Reference(text119, (-242.5,-272)))
pad_label118.add(gdstk.Reference(text120, (160,-272)))
pad_label118.add(gdstk.Reference(text121, (-107.5,-272)))
pad_label118.add(gdstk.Reference(text122, (35,-272)))

i_test102 = lib.new_cell('I_test102')
i_test102.add(gdstk.Reference(metal_left103, (0,0)))
i_test102.add(gdstk.Reference(metal_left115, (0,0)))
i_test102.add(gdstk.Reference(rectangle106, (0,0)))
i_test102.add(gdstk.Reference(text116, (0,0)))
i_test102.add(gdstk.Reference(text117, (0,0)))
i_test102.add(gdstk.Reference(pad_label118, (0,0)))

boolean = lib.new_cell('boolean')
P(boolean, L81_0, [(2100,2100),(0,2100),(0,20),(20,20),(20,2080),(2080,2080),(2080,20),(20,20),(0,20),(0,0),(2100,0)])

toplevel = lib.new_cell('toplevel')
toplevel.add(gdstk.Reference(i_test, (-605,399.5)))
toplevel.add(gdstk.Reference(i_test016, (-605,-367.5)))
toplevel.add(gdstk.Reference(i_test039, (45,399.5)))
toplevel.add(gdstk.Reference(i_test060, (45,-367.5)))
toplevel.add(gdstk.Reference(i_test081, (695,399.5)))
toplevel.add(gdstk.Reference(i_test102, (695,-367.5)))
toplevel.add(gdstk.Reference(boolean, (-1050,-1050)))

lib.write_gds('toplevel.gds')
